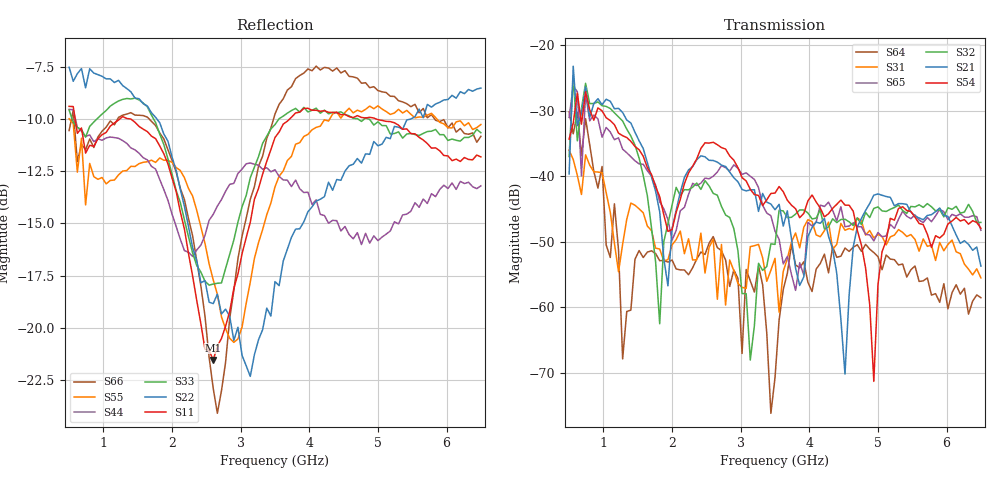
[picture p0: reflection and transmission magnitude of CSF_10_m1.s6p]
!Keysight Technologies,M9804A,MY58100912,A.14.10.03
!Date: Thursday, April 27, 2023 10:28:33
!Correction: S11(C  6-Port  )
!S12(C  6-Port  )
!S13(C  6-Port  )
!S14(C  6-Port  )
!S15(C  6-Port  )
!S16(C  6-Port  )
!S21(C  6-Port  )
!S22(C  6-Port  )
!S23(C  6-Port  )
!S24(C  6-Port  )
!S25(C  6-Port  )
!S26(C  6-Port  )
!S31(C  6-Port  )
!S32(C  6-Port  )
!S33(C  6-Port  )
!S34(C  6-Port  )
!S35(C  6-Port  )
!S36(C  6-Port  )
!S41(C  6-Port  )
!S42(C  6-Port  )
!S43(C  6-Port  )
!S44(C  6-Port  )
!S45(C  6-Port  )
!S46(C  6-Port  )
!S51(C  6-Port  )
!S52(C  6-Port  )
!S53(C  6-Port  )
!S54(C  6-Port  )
!S55(C  6-Port  )
!S56(C  6-Port  )
!S61(C  6-Port  )
!S62(C  6-Port  )
!S63(C  6-Port  )
!S64(C  6-Port  )
!S65(C  6-Port  )
!S66(C  6-Port  )
!S6P File: Measurement: :
# Hz S  RI  R 50
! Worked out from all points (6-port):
!   101 points, 500 MHz to 6.5 GHz, reference 50 ohm
!   strongest paths, dB at 500 MHz, 2 GHz, 3.5 GHz, 5 GHz, 6.5 GHz:
!     S54: -34.4, -48.2, -42.6, -56.6, -48.0
!     S21: -39.7, -48.0, -45.1, -42.7, -53.7
!     S32: -37.0, -44.4, -50.4, -44.7, -47.1
!     S65: -31.0, -49.8, -48.4, -48.6, -48.3
!     S31: -36.1, -50.5, -52.5, -48.9, -55.5
!     S64: -30.2, -52.8, -70.8, -52.3, -58.5
!   lowest |S11| = -21.5 dB at 2.6 GHz (marker M1), VSWR 1.18, Z = 42.5 + j2.09 ohm
!   |S11| at or under -10 dB: 587.7 MHz to 1.239 GHz (650.9 MHz wide, 71.3 % of centre); 1.39 GHz to 3.714 GHz (2.325 GHz wide, 91.1 % of centre); 4.973 GHz to end of sweep
